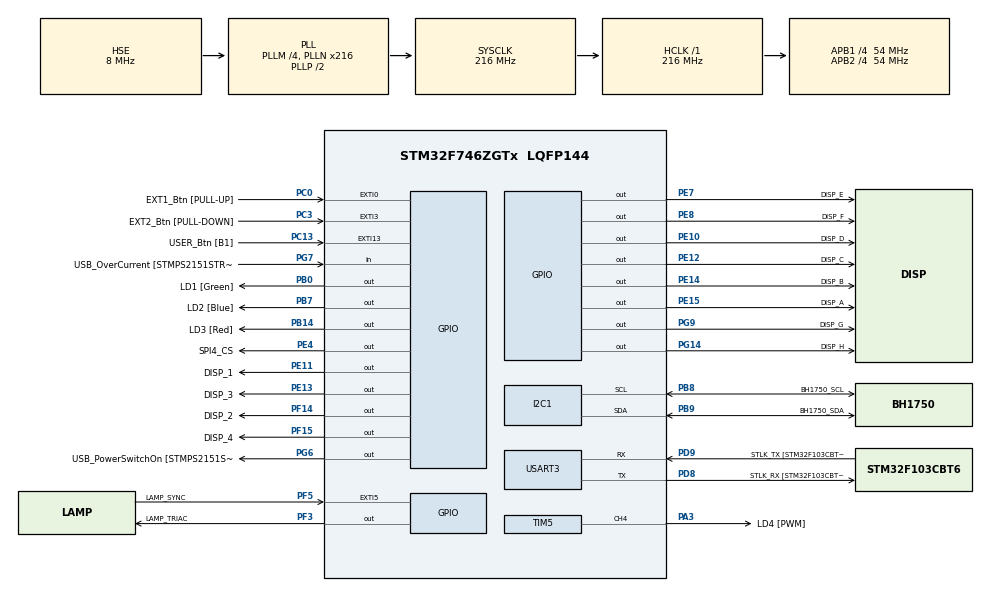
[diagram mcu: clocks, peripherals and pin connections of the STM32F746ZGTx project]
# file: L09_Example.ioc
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Dma.Request0=USART3_RX
Dma.USART3_RX.0.Direction=DMA_PERIPH_TO_MEMORY
Dma.USART3_RX.0.FIFOMode=DMA_FIFOMODE_DISABLE
Dma.USART3_RX.0.Instance=DMA1_Stream1
Dma.USART3_RX.0.MemDataAlignment=DMA_MDATAALIGN_BYTE
Dma.USART3_RX.0.MemInc=DMA_MINC_ENABLE
Dma.USART3_RX.0.Mode=DMA_NORMAL
Dma.USART3_RX.0.PeriphDataAlignment=DMA_PDATAALIGN_BYTE
Dma.USART3_RX.0.PeriphInc=DMA_PINC_DISABLE
Dma.USART3_RX.0.Priority=DMA_PRIORITY_LOW
I2C1.Timing=0x20404768
Mcu.Family=STM32F7
Mcu.Name=STM32F746ZGTx
Mcu.Package=LQFP144
NVIC.DMA1_Stream1_IRQn=true\:0\:0\:false\:false\:true\:false\:true\:true
NVIC.PriorityGroup=NVIC_PRIORITYGROUP_4
NVIC.TIM2_IRQn=true\:0\:0\:false\:false\:true\:true\:true\:true
NVIC.TIM6_DAC_IRQn=true\:0\:0\:false\:false\:true\:true\:true\:true
PA1.GPIO_Label=RMII_REF_CLK [LAN8742A-CZ-TR_REFCLK0]
PA1.Signal=ETH_REF_CLK
PA10.GPIO_Label=USB_ID
PA10.Signal=USB_OTG_FS_ID
PA11.GPIO_Label=USB_DM
PA11.Signal=USB_OTG_FS_DM
PA12.GPIO_Label=USB_DP
PA12.Signal=USB_OTG_FS_DP
PA13.GPIO_Label=TMS
PA13.Mode=Serial_Wire
PA13.Signal=SYS_JTMS-SWDIO
PA14.GPIO_Label=TCK
PA14.Mode=Serial_Wire
PA14.Signal=SYS_JTCK-SWCLK
PA2.GPIO_Label=RMII_MDIO [LAN8742A-CZ-TR_MDIO]
PA2.Signal=ETH_MDIO
PA3.GPIO_Label=LD4 [PWM]
PA3.Signal=S_TIM5_CH4
PA4.Signal=COMP_DAC1_group
PA5.GPIO_Label=LED_RGB_R [Red channel]
PA5.Signal=S_TIM2_CH1_ETR
PA6.GPIO_Label=ENC_CLK
PA6.Signal=S_TIM3_CH1
PA7.GPIO_Label=RMII_CRS_DV [LAN8742A-CZ-TR_CRS_DV]
PA7.Signal=ETH_CRS_DV
PA8.GPIO_Label=USB_SOF [TP1]
PA8.Signal=USB_OTG_FS_SOF
PA9.GPIO_Label=USB_VBUS
PA9.Signal=USB_OTG_FS_VBUS
PB0.GPIO_Label=LD1 [Green]
PB0.Signal=GPIO_Output
PB1.GPIO_Label=POTENTIOMETER1
PB1.Signal=ADCx_IN9
PB10.GPIO_Label=LED_RGB_G [Green channel]
PB10.Signal=S_TIM2_CH3
PB11.GPIO_Label=LED_RGB_B [Blue channel]
PB11.Signal=S_TIM2_CH4
PB13.GPIO_Label=RMII_TXD1 [LAN8742A-CZ-TR_TXD1]
PB13.Signal=ETH_TXD1
PB14.GPIO_Label=LD3 [Red]
PB14.Signal=GPIO_Output
PB3.GPIO_Label=SW0
PB3.Signal=SYS_JTDO-SWO
PB7.GPIO_Label=LD2 [Blue]
PB7.Signal=GPIO_Output
PB8.GPIO_Label=BH1750_SCL
PB8.Mode=I2C
PB8.Signal=I2C1_SCL
PB9.GPIO_Label=BH1750_SDA
PB9.Mode=I2C
PB9.Signal=I2C1_SDA
PC0.GPIO_Label=EXT1_Btn [PULL-UP]
PC0.GPIO_ModeDefaultEXTI=GPIO_MODE_IT_FALLING
PC0.GPIO_PuPd=GPIO_PULLUP
PC0.Signal=GPXTI0
PC1.GPIO_Label=RMII_MDC [LAN8742A-CZ-TR_MDC]
PC1.Signal=ETH_MDC
PC13.GPIO_Label=USER_Btn [B1]
PC13.Signal=GPXTI13
PC14/OSC32_IN.Mode=LSE-External-Oscillator
PC14/OSC32_IN.Signal=RCC_OSC32_IN
PC15/OSC32_OUT.Mode=LSE-External-Oscillator
PC15/OSC32_OUT.Signal=RCC_OSC32_OUT
PC2.GPIO_Label=POTENTIOMETER2
PC2.Signal=ADCx_IN12
PC3.GPIO_Label=EXT2_Btn [PULL-DOWN]
PC3.GPIO_PuPd=GPIO_PULLDOWN
PC3.Signal=GPXTI3
PC4.GPIO_Label=RMII_RXD0 [LAN8742A-CZ-TR_RXD0]
PC4.Signal=ETH_RXD0
PC5.GPIO_Label=RMII_RXD1 [LAN8742A-CZ-TR_RXD1]
PC5.Signal=ETH_RXD1
PC7.GPIO_Label=ENC_DT
PC7.Signal=S_TIM3_CH2
PD13.GPIO_Label=HEATER
PD13.Signal=S_TIM4_CH2
PD8.GPIO_Label=STLK_RX [STM32F103CBT6_PA3]
PD8.Mode=Asynchronous
PD8.Signal=USART3_TX
PD9.GPIO_Label=STLK_TX [STM32F103CBT6_PA2]
PD9.Mode=Asynchronous
PD9.Signal=USART3_RX
PE10.GPIO_Label=DISP_D
PE10.GPIO_ModeDefaultOutputPP=GPIO_MODE_OUTPUT_OD
PE10.GPIO_PuPd=GPIO_PULLUP
PE10.Signal=GPIO_Output
PE11.GPIO_Label=DISP_1
PE11.Signal=GPIO_Output
PE12.GPIO_Label=DISP_C
PE12.GPIO_ModeDefaultOutputPP=GPIO_MODE_OUTPUT_OD
PE12.GPIO_PuPd=GPIO_PULLUP
PE12.Signal=GPIO_Output
PE13.GPIO_Label=DISP_3
PE13.Signal=GPIO_Output
PE14.GPIO_Label=DISP_B
PE14.GPIO_ModeDefaultOutputPP=GPIO_MODE_OUTPUT_OD
PE14.GPIO_PuPd=GPIO_PULLUP
PE14.Signal=GPIO_Output
PE15.GPIO_Label=DISP_A
PE15.GPIO_ModeDefaultOutputPP=GPIO_MODE_OUTPUT_OD
PE15.GPIO_PuPd=GPIO_PULLUP
PE15.Signal=GPIO_Output
PE2.Signal=SPI4_SCK
PE4.GPIO_Label=SPI4_CS
PE4.Signal=GPIO_Output
PE5.Signal=SPI4_MISO
PE6.Signal=SPI4_MOSI
PE7.GPIO_Label=DISP_E
PE7.GPIO_ModeDefaultOutputPP=GPIO_MODE_OUTPUT_OD
PE7.GPIO_PuPd=GPIO_PULLUP
PE7.Signal=GPIO_Output
PE8.GPIO_Label=DISP_F
PE8.GPIO_ModeDefaultOutputPP=GPIO_MODE_OUTPUT_OD
PE8.GPIO_PuPd=GPIO_PULLUP
PE8.Signal=GPIO_Output
PF14.GPIO_Label=DISP_2
PF14.Signal=GPIO_Output
PF15.GPIO_Label=DISP_4
PF15.Signal=GPIO_Output
PF3.GPIO_Label=LAMP_TRIAC
PF3.GPIO_Speed=GPIO_SPEED_FREQ_HIGH
PF3.Signal=GPIO_Output
PF5.GPIO_Label=LAMP_SYNC
PF5.Signal=GPXTI5
PG11.GPIO_Label=RMII_TX_EN [LAN8742A-CZ-TR_TXEN]
PG11.Signal=ETH_TX_EN
PG13.GPIO_Label=RMII_TXD0 [LAN8742A-CZ-TR_TXD0]
PG13.Signal=ETH_TXD0
PG14.GPIO_Label=DISP_H
PG14.GPIO_ModeDefaultOutputPP=GPIO_MODE_OUTPUT_OD
PG14.GPIO_PuPd=GPIO_PULLUP
PG14.Signal=GPIO_Output
PG6.GPIO_Label=USB_PowerSwitchOn [STMPS2151STR_EN]
PG6.Signal=GPIO_Output
PG7.GPIO_Label=USB_OverCurrent [STMPS2151STR_FAULT]
PG7.Signal=GPIO_Input
PG9.GPIO_Label=DISP_G
PG9.GPIO_ModeDefaultOutputPP=GPIO_MODE_OUTPUT_OD
PG9.GPIO_PuPd=GPIO_PULLUP
PG9.Signal=GPIO_Output
PH0/OSC_IN.GPIO_Label=MCO [STM32F103CBT6_PA8]
PH0/OSC_IN.Mode=HSE-External-Clock-Source
PH0/OSC_IN.Signal=RCC_OSC_IN
PH1/OSC_OUT.Mode=HSE-External-Clock-Source
PH1/OSC_OUT.Signal=RCC_OSC_OUT
ProjectManager.HeapSize=0x200
ProjectManager.StackSize=0x400
ProjectManager.TargetToolchain=STM32CubeIDE
RCC.48MHZClocksFreq_Value=24000000
RCC.AHBFreq_Value=216000000
RCC.APB1CLKDivider=RCC_HCLK_DIV4
RCC.APB1Freq_Value=54000000
RCC.APB1TimFreq_Value=108000000
RCC.APB2CLKDivider=RCC_HCLK_DIV4
RCC.APB2Freq_Value=54000000
RCC.APB2TimFreq_Value=108000000
RCC.CortexFreq_Value=216000000
RCC.HCLKFreq_Value=216000000
RCC.HSE_VALUE=8000000
RCC.HSI_VALUE=16000000
RCC.PLLM=4
RCC.PLLMUL=RCC_PLL_MUL9
RCC.PLLN=216
RCC.PLLQ=3
RCC.PLLSourceVirtual=RCC_PLLSOURCE_HSE
RCC.PRESCALERUSB=RCC_USBCLKSOURCE_PLL_DIV1_5
RCC.SYSCLKFreq_VALUE=216000000
RCC.SYSCLKSource=RCC_SYSCLKSOURCE_PLLCLK
RCC.SYSCLKSourceVirtual=RCC_SYSCLKSOURCE_PLLCLK
RCC.USART3CLockSelection=RCC_USART3CLKSOURCE_SYSCLK
RCC.USBFreq_Value=144000000
RCC.VCOOutputFreq_Value=432000000
SH.ADCx_IN12.0=ADC1_IN12
SH.ADCx_IN9.0=ADC1_IN9
SH.COMP_DAC1_group.0=DAC_OUT1
SH.S_TIM2_CH1_ETR.0=TIM2_CH1
SH.S_TIM2_CH3.0=TIM2_CH3
SH.S_TIM2_CH4.0=TIM2_CH4
SH.S_TIM3_CH1.0=TIM3_CH1
SH.S_TIM3_CH2.0=TIM3_CH2
SH.S_TIM4_CH2.0=TIM4_CH2
SH.S_TIM5_CH4.0=TIM5_CH4,PWM Generation4 CH4
TIM2.Period=1000000000
TIM2.Prescaler=107
TIM5.Channel-PWM\ Generation4\ CH4=TIM_CHANNEL_4
TIM5.Period=999
TIM5.Prescaler=107
TIM6.Period=2499
TIM6.Prescaler=1079
USART3.VirtualMode-Asynchronous=VM_ASYNC
VP_TIM2_VS_ClockSourceINT.Mode=Internal
VP_TIM5_VS_ClockSourceINT.Mode=Internal
VP_TIM6_VS_ClockSourceINT.Mode=Enable_Timer
board=NUCLEO-F746ZG

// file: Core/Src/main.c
/* USER CODE BEGIN Header */
/**
  ******************************************************************************
  * @file           : main.c
  * @brief          : Main program body
  ******************************************************************************
  * @attention
  *
  * Copyright (c) 2022 STMicroelectronics.
  * All rights reserved.
  *
  * This software is licensed under terms that can be found in the LICENSE file
  * in the root directory of this software component.
  * If no LICENSE file comes with this software, it is provided AS-IS.
  *
  ******************************************************************************
  */
/* USER CODE END Header */
#include "main.h"
#include "dma.h"
#include "i2c.h"
#include "tim.h"
#include "usart.h"
#include "gpio.h"

/* USER CODE BEGIN Includes */
#include "pid2dof_config.h"
#include "bh1750_config.h"
#include "led_config.h"
#include "serial_api.h"
/* USER CODE END Includes */

/* USER CODE BEGIN PM */
#define GET_TIME_MS()  1000ul*((uint64_t)time_s)+\
                       (uint64_t)__HAL_TIM_GET_COUNTER(TIMESTAMP_TIM)/1000ul
/* USER CODE END PM */

/* USER CODE BEGIN PV */

//<! Time stamp
unsigned int time_s = 0;    // [s]

//<! Reference illuminance (reference signal)
float light_ref = 1000.0f;  // [lx]

//<! Measured illuminance (measurement signal)
float light_meas = 0.0f;    // [lx]

//<! LED PWM duty cycle (control signal)
float light_ctrl = 0.0f;    // [%]

//<! Serial port API Rx command buffer
Serial_API_Buffer rx_cmd;

//<! System variables (available via Serial API)
SysVars_TypeDef sys_vars[] = {
  { .val = &light_ref,       .var_id = {'R','E','F'}, .var_name = "Reference",      .var_unit = "\"lx\"" },
  { .val = &light_meas,      .var_id = {'R','D','O'}, .var_name = "Measurement",    .var_unit = "\"lx\"" },
  { .val = &light_ctrl,      .var_id = {'P','W','M'}, .var_name = "PWM Duty cycle", .var_unit = "\"\%\"" },
  { .val = &(hlight_pid.Kp), .var_id = {'C','K','P'}, .var_name = "PID Kp Gain",    .var_unit = "null" },
  { .val = &(hlight_pid.Ki), .var_id = {'C','K','I'}, .var_name = "PID Ki Gain",    .var_unit = "null" },
  { .val = &(hlight_pid.Kd), .var_id = {'C','K','D'}, .var_name = "PID Kd Gain",    .var_unit = "null" }
};

const unsigned int SYS_VARS_LEN = sizeof(sys_vars)/sizeof(SysVars_TypeDef);

/* USER CODE END PV */

void SystemClock_Config(void);

/* USER CODE BEGIN 0 */

/**
  * @brief  Period elapsed callback in non-blocking mode
  * @param  htim TIM handle
  * @retval None
  */
void HAL_TIM_PeriodElapsedCallback(TIM_HandleTypeDef *htim)
{
  //<! Main measurement and control loop
  if(htim == CONTROL_TIM)
  {
    //<! Read measurement result
    light_meas = BH1750_ReadIlluminance_lux(&hlight_sensor);

    //<! Compute control signal
    light_ctrl = PID2DOF_GetOutput(&hlight_pid, light_ref, light_meas);

    //<! Write control output
    LED_PWM_WriteDuty(&hlight_soruce, light_ctrl);
  }

  else if(htim == TIMESTAMP_TIM)
  {
    time_s += 1000;
  }
}

/**
  * @brief  Rx Transfer completed callback.
  * @param  huart UART handle.
  * @retval None
  */
void HAL_UART_RxCpltCallback(UART_HandleTypeDef *huart)
{
  //<! Serial port API
  if(huart == CONTROL_UART)
  {
    //<! Parse control command
    if(Serial_API_IsCmdSet(&rx_cmd))
    {
      // Write system variable
      Serial_API_SetSysVar(&rx_cmd, sys_vars, SYS_VARS_LEN);
    }
    else if(Serial_API_IsCmdGet(&rx_cmd))
    {
      // Read system variable
      Serial_API_GetSysVar(&rx_cmd, sys_vars, SYS_VARS_LEN, GET_TIME_MS());
    }

    //<! Listen for control message
    HAL_UART_Receive_DMA(CONTROL_UART, rx_cmd.Buffer, sizeof(Serial_API_CmdStr));
  }
}

/* USER CODE END 0 */

int main(void)
{

  /* MCU Configuration--------------------------------------------------------*/

  /* Reset of all peripherals, Initializes the Flash interface and the Systick. */
  HAL_Init();

  /* Configure the system clock */
  SystemClock_Config();

  /* Initialize all configured peripherals */
  MX_GPIO_Init();
  MX_DMA_Init();
  MX_USART3_UART_Init();
  MX_TIM6_Init();
  MX_TIM5_Init();
  MX_I2C1_Init();
  MX_TIM2_Init();
  /* USER CODE BEGIN 2 */

  //<! Initialize LED light source
  LED_PWM_Init(&hlight_soruce);

  //<! Initialize BH1750 light sensor
  BH1750_Init(&hlight_sensor);

  //<! Start main measurement and control loop
  HAL_TIM_Base_Start_IT(CONTROL_TIM);

  //<! Start time stamp timer
  __HAL_TIM_CLEAR_FLAG(TIMESTAMP_TIM, TIM_FLAG_UPDATE);
  HAL_TIM_Base_Start_IT(TIMESTAMP_TIM);

  //<! Listen for control message
  HAL_UART_Receive_DMA(CONTROL_UART, rx_cmd.Buffer, sizeof(Serial_API_CmdStr));

  /* USER CODE END 2 */

  /* Infinite loop */
  while (1)
  {

  }
}

void SystemClock_Config(void)
{
  RCC_OscInitTypeDef RCC_OscInitStruct = {0};
  RCC_ClkInitTypeDef RCC_ClkInitStruct = {0};

  /** Configure LSE Drive Capability
  */
  HAL_PWR_EnableBkUpAccess();

  /** Configure the main internal regulator output voltage
  */
  __HAL_RCC_PWR_CLK_ENABLE();
  __HAL_PWR_VOLTAGESCALING_CONFIG(PWR_REGULATOR_VOLTAGE_SCALE1);

  /** Initializes the RCC Oscillators according to the specified parameters
  * in the RCC_OscInitTypeDef structure.
  */
  RCC_OscInitStruct.OscillatorType = RCC_OSCILLATORTYPE_HSE;
  RCC_OscInitStruct.HSEState = RCC_HSE_BYPASS;
  RCC_OscInitStruct.PLL.PLLState = RCC_PLL_ON;
  RCC_OscInitStruct.PLL.PLLSource = RCC_PLLSOURCE_HSE;
  RCC_OscInitStruct.PLL.PLLM = 4;
  RCC_OscInitStruct.PLL.PLLN = 216;
  RCC_OscInitStruct.PLL.PLLP = RCC_PLLP_DIV2;
  RCC_OscInitStruct.PLL.PLLQ = 3;
  if (HAL_RCC_OscConfig(&RCC_OscInitStruct) != HAL_OK)
  {
    Error_Handler();
  }

  /** Activate the Over-Drive mode
  */
  if (HAL_PWREx_EnableOverDrive() != HAL_OK)
  {
    Error_Handler();
  }

  /** Initializes the CPU, AHB and APB buses clocks
  */
  RCC_ClkInitStruct.ClockType = RCC_CLOCKTYPE_HCLK|RCC_CLOCKTYPE_SYSCLK
                              |RCC_CLOCKTYPE_PCLK1|RCC_CLOCKTYPE_PCLK2;
  RCC_ClkInitStruct.SYSCLKSource = RCC_SYSCLKSOURCE_PLLCLK;
  RCC_ClkInitStruct.AHBCLKDivider = RCC_SYSCLK_DIV1;
  RCC_ClkInitStruct.APB1CLKDivider = RCC_HCLK_DIV4;
  RCC_ClkInitStruct.APB2CLKDivider = RCC_HCLK_DIV4;

  if (HAL_RCC_ClockConfig(&RCC_ClkInitStruct, FLASH_LATENCY_7) != HAL_OK)
  {
    Error_Handler();
  }
}

void Error_Handler(void)
{
  __disable_irq();
  while (1)
  {
  }
}
